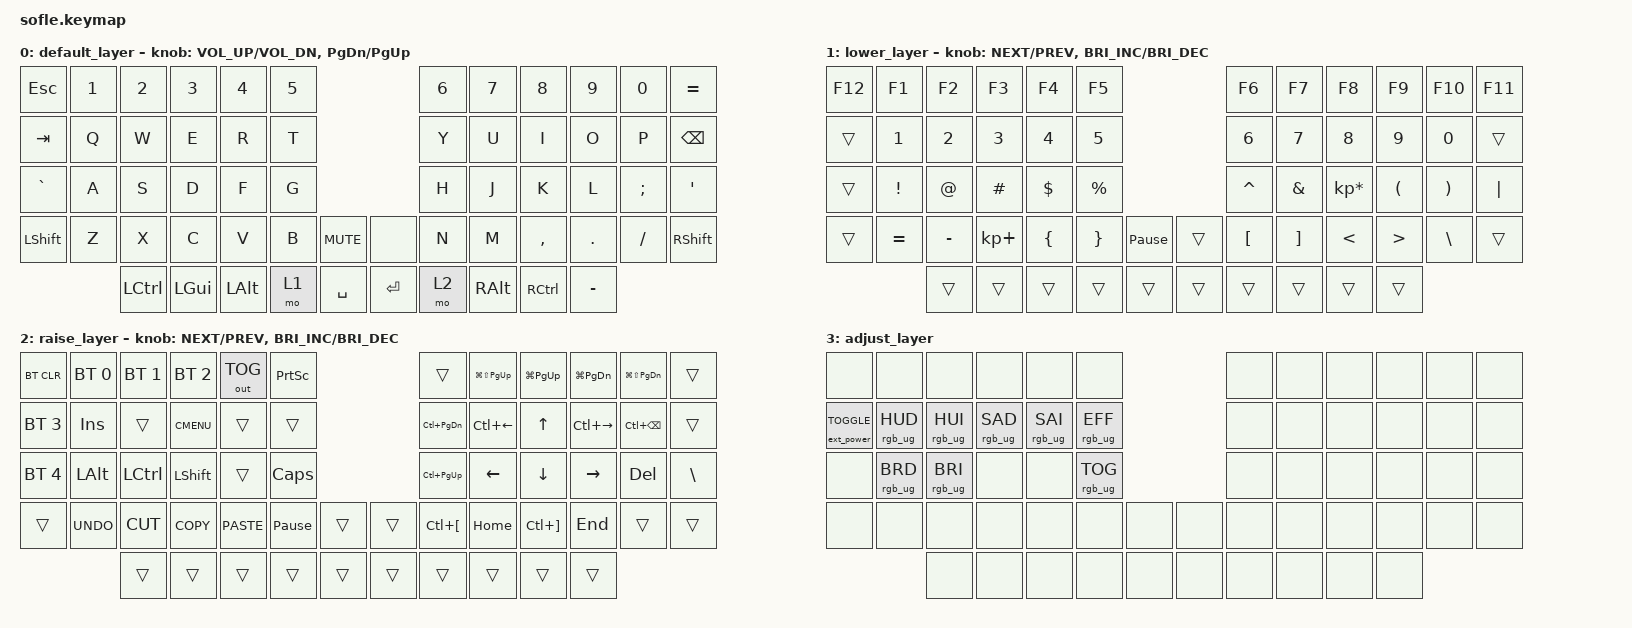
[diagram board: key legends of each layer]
/*
 * Copyright (c) 2020 The ZMK Contributors
 *
 * SPDX-License-Identifier: MIT
 */

#include <behaviors.dtsi>
#include <dt-bindings/zmk/keys.h>
#include <dt-bindings/zmk/bt.h>
#include <dt-bindings/zmk/rgb.h>
#include <dt-bindings/zmk/ext_power.h>
#include <dt-bindings/zmk/outputs.h>

#define BASE 0
#define LOWER 1
#define RAISE 2
#define ADJUST 3


/ {

   // Activate ADJUST layer by pressing raise and lower
    conditional_layers {
        compatible = "zmk,conditional-layers";
        adjust_layer {
            if-layers = <LOWER RAISE>;
            then-layer = <ADJUST>;
        };
    };


    keymap {
        compatible = "zmk,keymap";

        default_layer {
// ------------------------------------------------------------------------------------------------------------
// |  `    |  1  |  2  |  3   |  4   |  5   |                   |  6   |  7    |  8    |  9   |   0   |       |
// |  ESC  |  Q  |  W  |  E   |  R   |  T   |                   |  Y   |  U    |  I    |  O   |   P   | BKSPC |
// |  TAB  |  A  |  S  |  D   |  F   |  G   |                   |  H   |  J    |  K    |  L   |   ;   |   '   |
// | SHIFT |  Z  |  X  |  C   |  V   |  B   |  MUTE  |  |       |  N   |  M    |  ,    |  .   |   /   | SHIFT |
//               | GUI | ALT  | CTRL | LOWER|  ENTER |  | SPACE | RAISE| CTRL  | ALT   | GUI  |
            bindings = <
&kp ESC   &kp N1 &kp N2    &kp N3   &kp N4    &kp N5                      &kp N6 &kp N7    &kp N8    &kp N9   &kp N0   &kp EQUAL
&kp TAB   &kp Q  &kp W     &kp E    &kp R     &kp T                       &kp Y  &kp U     &kp I     &kp O    &kp P    &kp BSPC
&kp GRAVE &kp A  &kp S     &kp D    &kp F     &kp G                       &kp H  &kp J     &kp K     &kp L    &kp SEMI &kp SQT
&kp LSHFT &kp Z  &kp X     &kp C    &kp V     &kp B  &kp C_MUTE &none     &kp N  &kp M     &kp COMMA &kp DOT  &kp FSLH &kp RSHFT
                 &kp LCTRL &kp LGUI &kp LALT  &mo 1  &kp SPACE  &kp RET   &mo 2  &kp RALT &kp RCTRL  &kp MINUS
            >;

            sensor-bindings = <&inc_dec_kp C_VOL_UP C_VOL_DN &inc_dec_kp PG_DN PG_UP>;
        };

        lower_layer {
// TODO: Some binds are waiting for shifted keycode support.
// ------------------------------------------------------------------------------------------------------------
// |       |  F1 |  F2 |  F3  |  F4  |  F5  |                   |  F6  |  F7   |  F8   |  F9  |  F10  |  F11  |
// | `     |   1 |   2 |   3  |   4  |   5  |                   |   6  |   7   |   8   |   9  |    0  |  F12  |
// |       |  !  |  @  |  #   |  $   |  %   |                   |  ^   |  &    |  *    |  (   |   )   |   |   |
// |       |  =  |  -  |  +   |  {   |  }   |        |  |       |  [   |  ]    |  ;    |  :   |   \   |       |
//               |     |      |      |      |        |  |       |      |       |       |      |
            bindings = <
&kp F12   &kp F1    &kp F2    &kp F3      &kp F4    &kp F5                             &kp F6    &kp F7   &kp F8          &kp F9    &kp F10   &kp F11
&trans    &kp N1    &kp N2    &kp N3      &kp N4    &kp N5                             &kp N6    &kp N7   &kp N8          &kp N9    &kp N0    &trans
&trans    &kp EXCL  &kp AT    &kp HASH    &kp DLLR  &kp PRCNT                          &kp CARET &kp AMPS &kp KP_MULTIPLY &kp LPAR  &kp RPAR  &kp PIPE
&trans    &kp EQUAL &kp MINUS &kp KP_PLUS &kp LBRC  &kp RBRC  &kp PAUSE_BREAK   &trans &kp LBKT  &kp RBKT &kp LT          &kp GT    &kp BSLH  &trans
                    &trans    &trans      &trans    &trans    &trans            &trans &trans    &trans   &trans          &trans
            >;

            sensor-bindings = <&inc_dec_kp C_NEXT C_PREV &inc_dec_kp C_BRI_INC C_BRI_DEC>;
        };

        raise_layer {
// ------------------------------------------------------------------------------------------------------------
// |BTCLR| BT1  | BT2  |  BT3  |  BT4  |  BT5 |                |      |      |       |      |       |       |
// |     | INS  | PSCR | GUI   |       |      |                | PGUP |      |   ^   |      |       |       |
// |     | ALT  | CTRL | SHIFT |       | CAPS |                | PGDN |   <- |   v   |  ->  |  DEL  | BKSPC |
// |     | UNDO | CUT  | COPY  | PASTE |      |      |  |      |      |      |       |      |       |       |
//              |      |       |       |      |      |  |      |      |      |       |      |
            bindings = <
&bt BT_CLR    &bt BT_SEL 0 &bt BT_SEL 1  &bt BT_SEL 2 &out OUT_TOG &kp PSCRN                           &trans          &kp LG(LS(PG_UP)) &kp LG(PG_UP)  &kp LG(PG_DN)  &kp LG(LS(PG_DN))  &trans
&bt BT_SEL 3  &kp INS      &trans        &kp K_CMENU  &trans       &trans                              &kp LC(PG_DN)   &kp LC(LEFT)      &kp UP         &kp LC(RIGHT)  &kp LC(BSPC)       &trans
&bt BT_SEL 4  &kp LALT     &kp LCTRL     &kp LSHFT    &trans       &kp CLCK                            &kp LC(PG_UP)   &kp LEFT          &kp DOWN       &kp RIGHT      &kp DEL            &kp BSLH
&trans        &kp K_UNDO   &kp K_CUT     &kp K_COPY   &kp K_PASTE  &kp PAUSE_BREAK    &trans   &trans  &kp LC(LBKT)    &kp HOME          &kp LC(RBKT)   &kp END        &trans             &trans
                           &trans        &trans       &trans       &trans             &trans   &trans  &trans          &trans            &trans         &trans
            >;

            sensor-bindings = <&inc_dec_kp C_NEXT C_PREV &inc_dec_kp C_BRI_INC C_BRI_DEC>;
        };


// ------------------------------------------------------------------------------------------------------------
// |BTCLR | BT1   | BT2   |  BT3  |  BT4  |  BT5  |                |      |      |       |      |       |       |
// |EXTPWR|RGB_HUD|RGB_HUI|RGB_SAD|RGB_SAI|RGB_EFF|                |      |      |       |      |       |       |
// |      |RGB_BRD|RGB_BRI|       |       |       |                |      |      |       |      |       |       |
// |      |       |       |       |       |       |RGB_TOG| |      |      |      |       |      |       |       |
//                |       |       |       |       |       | |      |      |      |       |      |

        adjust_layer {
            bindings = <
&none                           &none           &none           &none           &none           &none                                           &none &none &none &none &none &none
&ext_power EXT_POWER_TOGGLE_CMD &rgb_ug RGB_HUD &rgb_ug RGB_HUI &rgb_ug RGB_SAD &rgb_ug RGB_SAI &rgb_ug RGB_EFF                                 &none &none &none &none &none &none
&none                           &rgb_ug RGB_BRD &rgb_ug RGB_BRI &none           &none           &rgb_ug RGB_TOG                                 &none &none &none &none &none &none
&none                           &none           &none           &none           &none           &none               &none            &none      &none &none &none &none &none &none
                                                &none           &none           &none           &none               &none            &none      &none &none &none &none
            >;
        };

    };
};
